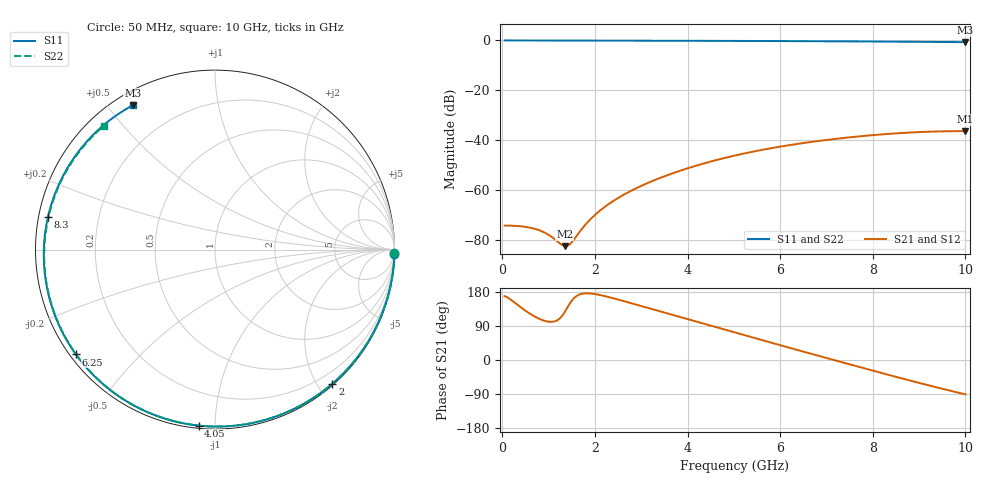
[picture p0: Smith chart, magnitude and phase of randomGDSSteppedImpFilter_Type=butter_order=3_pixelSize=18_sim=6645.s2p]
! freq	dB(S11)	phase(S11)	dB(S12)	phase(S12)
!  dB(S21)	phase(S21)	dB(S22)	phase(S22)
!S-par simulation data
#  GHz  S  DB  R 50
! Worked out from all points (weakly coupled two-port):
!   200 points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, 50 MHz to 10 GHz, reference 50 ohm
!   highest |S21| = -36.35 dB at 10 GHz (marker M1); lowest = -82.5 dB at 1.35 GHz (marker M2)
!   lowest |S11| = -0.7 dB at 10 GHz (marker M3), VSWR 25.82, Z = 2.59 + j29 ohm
!   |S11| at or under -10 dB: nowhere
!   |S22| runs from -0.7 to 0.0 dB; largest |S21 - S12| = 0
!   S11 on the Smith chart (normalised r, x): 50 MHz: 0, -92; 2 GHz: 0.02, -2.21; 4.05 GHz: 0.01, -0.91; 6.25 GHz: 0.02, -0.33; 8.3 GHz: 0.03, +0.10; 10 GHz: 0.05, +0.58
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0.05  -0.00 -1.3  -74.26 168.3  -74.26 168.3  -0.00 -1.2
0.65  -0.02 -16.1  -75.28 118.2  -75.28 118.2  -0.01 -15.5
0.9  -0.03 -22.3  -76.91 103.9  -76.91 103.9  -0.02 -21.4
1.15  -0.04 -28.4  -79.96 102.7  -79.96 102.7  -0.03 -27.3
1.35  -0.04 -33.2  -82.49 127.0  -82.49 127.0  -0.04 -32.0
1.55  -0.05 -38.0  -79.75 163.5  -79.75 163.5  -0.05 -36.6
1.75  -0.05 -42.8  -74.85 175.3  -74.85 175.3  -0.05 -41.2
2  -0.06 -48.8  -69.97 174.0  -69.97 174.0  -0.06 -46.9
2.25  -0.07 -54.6  -66.22 167.5  -66.22 167.5  -0.07 -52.6
2.6  -0.08 -62.8  -62.09 156.1  -62.09 156.1  -0.08 -60.4
3.4  -0.11 -80.9  -55.18 128.5  -55.18 128.5  -0.10 -77.9
4.05  -0.13 -95.3  -50.98 106.1  -50.98 106.1  -0.13 -91.8
5.05  -0.18 -117.0  -46.03 71.6  -46.03 71.6  -0.17 -112.6
5.65  -0.22 -129.9  -43.73 51.0  -43.73 51.0  -0.21 -124.9
6.25  -0.26 -143.0  -41.83 30.6  -41.83 30.6  -0.25 -137.3
6.7  -0.30 -152.9  -40.62 15.4  -40.62 15.4  -0.29 -146.7
7.55  -0.38 -172.5  -38.75 -13.1  -38.75 -13.1  -0.36 -165.1
8.3  -0.46 169.0  -37.51 -37.9  -37.51 -37.9  -0.45 177.7
8.35  -0.47 167.7  -37.44 -39.5  -37.44 -39.5  -0.45 176.5
8.8  -0.52 155.7  -36.92 -54.1  -36.92 -54.1  -0.51 165.3
9.2  -0.57 144.4  -36.59 -66.7  -36.59 -66.7  -0.56 154.9
10  -0.67 119.7  -36.35 -90.5  -36.35 -90.5  -0.66 132.0
